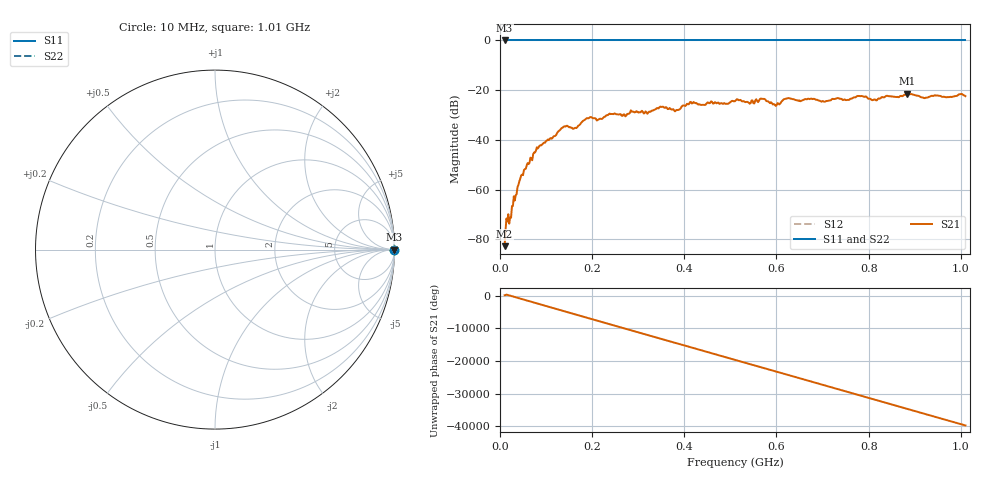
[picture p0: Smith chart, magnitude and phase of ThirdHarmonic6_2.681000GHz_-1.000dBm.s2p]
! 8/17/2025 6:18:12 AM
! C:\ANRITSUVNA\TEMP\TEMP.S2P
! CHANNEL.1
! TR.MEASUREMENT
! RAW.DATA
! RF.CORRECTION.OFF
! AVERAGING.OFF
! IF.BANDWIDTH: 5KHZ
! SWEEPTYPE:  FREQ.SWEEP(Linear)
! Reference Plane Port Info
! PORT:  PORT1  PORT2
! DISTANCE:  0  m  0  m
! TIME:  0  s  0  s
! PHASE.OFFSET:  0  deg.  0  deg.
! LOSS:  0  dB  0  dB
! REF.LOSS:  0  dB  0  dB
! REF.FREQ:  0  Hz  0  Hz
! Power Info
! POWER:  -20  dBm  -20  dBm
! EFF.POWER:  -20  dBm  -20  dBm
! SOURCE.ATTEN:  0  dB  0  dB
! TEST.ATTEN:  0  dB  0  dB
# GHZ S RI R 50.0
! FREQ.GHZ  S11RE  S11IM  S21RE  S21IM  S12RE  S12IM  S22RE  S22IM
!; PortSelection: Port_12
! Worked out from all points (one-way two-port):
!   501 points, 10 MHz to 1.01 GHz, reference 50 ohm
!   highest |S21| = -21.44 dB at 884 MHz (marker M1); lowest = -82.8 dB at 10 MHz (marker M2)
!   lowest |S11| = 0.0 dB at 10 MHz (marker M3)
!   |S11| at or under -10 dB: nowhere
!   |S22| runs from 0.0 to 0.0 dB; largest |S21 - S12| = 1.1
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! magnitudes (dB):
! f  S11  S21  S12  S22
! 10 MHz  0.0  -82.8  0.0  0.0
! 16 MHz  0.0  -72.8  0.0  0.0
! 24 MHz  0.0  -71.4  0.0  0.0
! 44 MHz  0.0  -55.6  0.0  0.0
! 76 MHz  0.0  -45.1  0.0  0.0
! 136 MHz  0.0  -35.1  0.0  0.0
! 162 MHz  0.0  -35.2  0.0  0.0
! 178 MHz  0.0  -32.8  0.0  0.0
! 344 MHz  0.0  -27.4  0.0  0.0
! 382 MHz  0.0  -28.1  0.0  0.0
! 416 MHz  0.0  -25.3  0.0  0.0
! 510 MHz  0.0  -24.4  0.0  0.0
! 570 MHz  0.0  -23.5  0.0  0.0
! 596 MHz  0.0  -25.7  0.0  0.0
! 622 MHz  0.0  -23.4  0.0  0.0
! 678 MHz  0.0  -23.6  0.0  0.0
! 702 MHz  0.0  -24.5  0.0  0.0
! 780 MHz  0.0  -22.3  0.0  0.0
! 814 MHz  0.0  -23.8  0.0  0.0
! 844 MHz  0.0  -22.4  0.0  0.0
! 884 MHz  0.0  -21.4  0.0  0.0
! 1.01 GHz  0.0  -22.4  0.0  0.0
